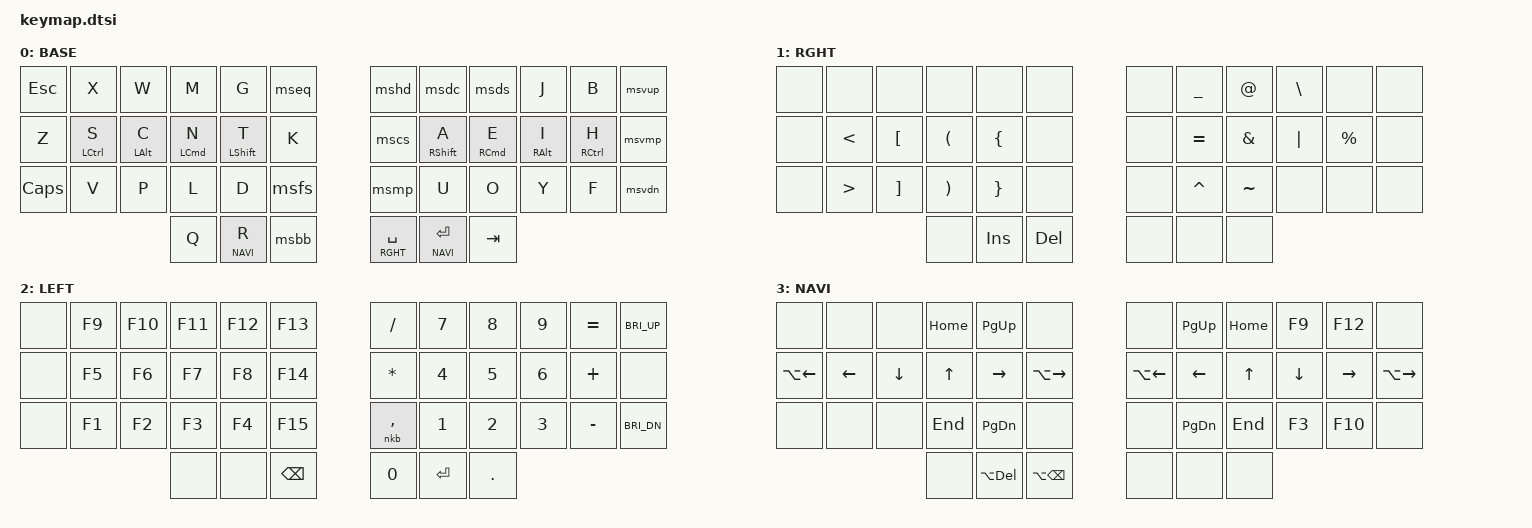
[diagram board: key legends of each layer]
/*
KEYMAP

keyboard: corne (https://github.com/foostan/crkbd)
firmware: zmk (https://zmk.dev/)
nugatio@2024.09.20 (https://github.com/nugatio/zmk-corne-config)
*/


// DEFINITION

keymap {
    compatible = "zmk,keymap";

// layer names
#define BASE 0
#define RGHT 1
#define LEFT 2
#define NAVI 3

// base
base_layer {
    /* base layer layout
         ╭─────────────────────╮ ╭─────────────────────╮
    ESC  │  X   W   M   G   !? │ │ #$  .:  "'   J   B  │ VUP/PRV
    Z    │  S   C   N   T   K  │ │ ,;   A   E   I   H  │ VM/PP
    CAPS │  V   P   L   D   /* │ │ -+   U   O   Y   F  │ VDN/NXT
         ╰───────╮  Q   R  BSP │ │ SPC RET TAB ╭───────╯
                 ╰─────────────╯ ╰─────────────╯
    */

    /* base layer hold layout
         ╭─────────────────────╮ ╭─────────────────────╮
         │                     │ │                     │
         │  LC  LA  LG  LS     │ │     RS  RG  RA  RC  │
         │                     │ │                     │
         ╰───────╮  L4  L3  L2 │ │ L1  L3  L4  ╭───────╯
                 ╰─────────────╯ ╰─────────────╯
    */

    display-name = "BASE";
    bindings = <
    &kp ESC   &kp X        &kp W       &kp M       &kp G        &mseq    &mshd           &msdc         &msds       &kp J       &kp B        &msvup
    &kp Z     &hm LCTRL S  &hm LALT C  &hm LCMD N  &hm LSHFT T  &kp K    &mscs           &hm RSHFT A   &hm RCMD E  &hm RALT I  &hm RCTRL H  &msvmp
    &kp CAPS  &kp V        &kp P       &kp L       &kp D        &msfs    &msmp           &kp U         &kp O       &kp Y       &kp F        &msvdn
                                       &kp Q       &lt NAVI R   &msbb    &lt RGHT SPACE  &lt NAVI RET  &kp TAB
    >;
};

// right
special_layer {
    /* right layer layout
        ╭─────────────────────╮ ╭─────────────────────╮
        │                     │ │      _   @   \      │
        │  <   [   (   {      │ │      =   &   |   %  │
        │  >   ]   )   }      │ │      ^   ~          │
        ╰───────╮     INS DEL │ │             ╭───────╯
                ╰─────────────╯ ╰─────────────╯
    */

    display-name = "RGHT";
    bindings = <
    &none  &none   &none     &none     &none     &none      &none  &kp UNDER  &kp AT     &kp BSLH  &none      &none
    &none  &kp LT  &kp LBKT  &kp LPAR  &kp LBRC  &none      &none  &kp EQUAL  &kp AMPS   &kp PIPE  &kp PRCNT  &none
    &none  &kp GT  &kp RBKT  &kp RPAR  &kp RBRC  &none      &none  &kp CARET  &kp TILDE  &none     &none      &none
                             &none     &kp INS   &kp DEL    &none  &none      &none
    >;
};

// left
numpad_function_layer {
    /* left layer layout
        ╭─────────────────────╮ ╭─────────────────────╮
        │  F9 F10 F11 F12 F13 │ │  /   7   8   9   -  │ BUP
        │  F5  F6  F7  F8 F14 │ │  *   4   5   6   +  │
        │  F1  F2  F3  F4 F15 │ │  ,   1   2   3   =  │ BDN
        ╰───────╮         BSP │ │  0  RET  .  ╭───────╯
                ╰─────────────╯ ╰─────────────╯
    */

    display-name = "LEFT";
    bindings = <
    &none  &kp F9  &kp F10  &kp F11  &kp F12  &kp F13    &kp FSLH    &kp N7   &kp N8   &kp N9  &kp EQUAL  &kp C_BRI_UP
    &none  &kp F5  &kp F6   &kp F7   &kp F8   &kp F14    &kp STAR    &kp N4   &kp N5   &kp N6  &kp PLUS   &none
    &none  &kp F1  &kp F2   &kp F3   &kp F4   &kp F15    &nkb COMMA  &kp N1   &kp N2   &kp N3  &kp MINUS  &kp C_BRI_DN
                            &none    &none    &kp BSPC   &kp N0      &kp RET  &kp DOT
    >;
};

// navi
navigation_layer {
    /* navi layer layout
        ╭─────────────────────╮ ╭─────────────────────╮
        │         HOM PUP     │ │     PUP HOM         │
     A⮜ │  ⮜   ⮟   ⮝   ⮞   A⮞ │ │ A⮜   ⮜   ⮝   ⮟   ⮞  │ A⮞
        │         END PDN     │ │     PDN END         │
        ╰───────╮     ADL ABS │ │             ╭───────╯
                ╰─────────────╯ ╰─────────────╯
    */

    display-name = "NAVI";
    bindings = <
    &none         &none     &none     &kp HOME     &kp PG_UP       &none            &none         &kp PG_UP  &kp HOME  &kp F9    &kp F12    &none
    &kp LA(LEFT)  &kp LEFT  &kp DOWN  &kp UP       &kp RIGHT       &kp LA(RIGHT)    &kp LA(LEFT)  &kp LEFT   &kp UP    &kp DOWN  &kp RIGHT  &kp LA(RIGHT)
    &none         &none     &none     &kp END      &kp PG_DN       &none            &none         &kp PG_DN  &kp END   &kp F3    &kp F10    &none
                            &none     &kp LA(DEL)  &kp LA(BSPC)    &none            &none         &none
    >;
};
};
